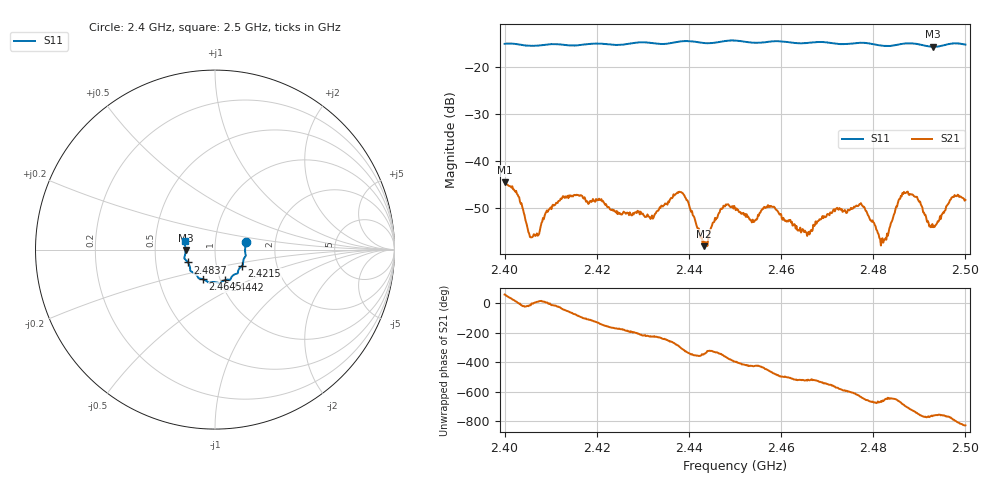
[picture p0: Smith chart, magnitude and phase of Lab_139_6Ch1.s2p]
# Hz S RI R 50
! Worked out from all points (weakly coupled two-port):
!   601 points, 2.4 GHz to 2.5 GHz, reference 50 ohm
!   highest |S21| = -44.49 dB at 2.4 GHz (marker M1); lowest = -58.1 dB at 2.4433 GHz (marker M2)
!   lowest |S11| = -15.7 dB at 2.493 GHz (marker M3), VSWR 1.39, Z = 35.9 - j0.228 ohm
!   |S11| at or under -10 dB: start of sweep to end of sweep
!   S12 and S22 are empty: the file has one direction only
!   S11 on the Smith chart (normalised r, x): 2.4 GHz: 1.41, +0.12; 2.4215 GHz: 1.33, -0.25; 2.4442 GHz: 1.05, -0.37; 2.4645 GHz: 0.83, -0.29; 2.4837 GHz: 0.73, -0.11; 2.5 GHz: 0.71, +0.07
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2.4e9  0.1713 0.0402  0.00303 0.00514  0 0  0 0
2.406e9  0.1678 -0.00162  0.00155 -2.7e-05  0 0  0 0
2.412333e9  0.1689 -0.0388  0.00322 -0.00227  0 0  0 0
2.416667e9  0.1568 -0.07  -0.000368 -0.00429  0 0  0 0
2.4215e9  0.1513 -0.0898  -0.00315 -0.00186  0 0  0 0
2.433333e9  0.1083 -0.1384  -0.00191 0.00227  0 0  0 0
2.4385e9  0.0855 -0.1666  0.00286 0.0036  0 0  0 0
2.443333e9  0.0641 -0.1675  0.00119 0.000371  0 0  0 0
2.444167e9  0.0566 -0.1695  0.00117 0.000876  0 0  0 0
2.447167e9  0.0338 -0.183  0.00305 0.000564  0 0  0 0
2.45e9  0.0253 -0.1891  0.00256 -0.00184  0 0  0 0
2.454e9  0.00157 -0.1809  0.000859 -0.00207  0 0  0 0
2.458e9  -0.0282 -0.1844  -0.00103 -0.00311  0 0  0 0
2.4645e9  -0.0658 -0.1658  -0.00173 -0.000558  0 0  0 0
2.466667e9  -0.0827 -0.162  -0.00163 -0.000753  0 0  0 0
2.477167e9  -0.1355 -0.1193  0.000224 0.00347  0 0  0 0
2.481833e9  -0.1416 -0.0914  0.00091 0.00114  0 0  0 0
2.483333e9  -0.1489 -0.075  0.000529 0.00166  0 0  0 0
2.483667e9  -0.1509 -0.0717  0.00061 0.00193  0 0  0 0
2.487e9  -0.1703 -0.0507  0.00425 0.00168  0 0  0 0
2.493e9  -0.1636 -0.00309  0.0015 -0.0013  0 0  0 0
2.5e9  -0.1652 0.0502  -0.00119 -0.00367  0 0  0 0
